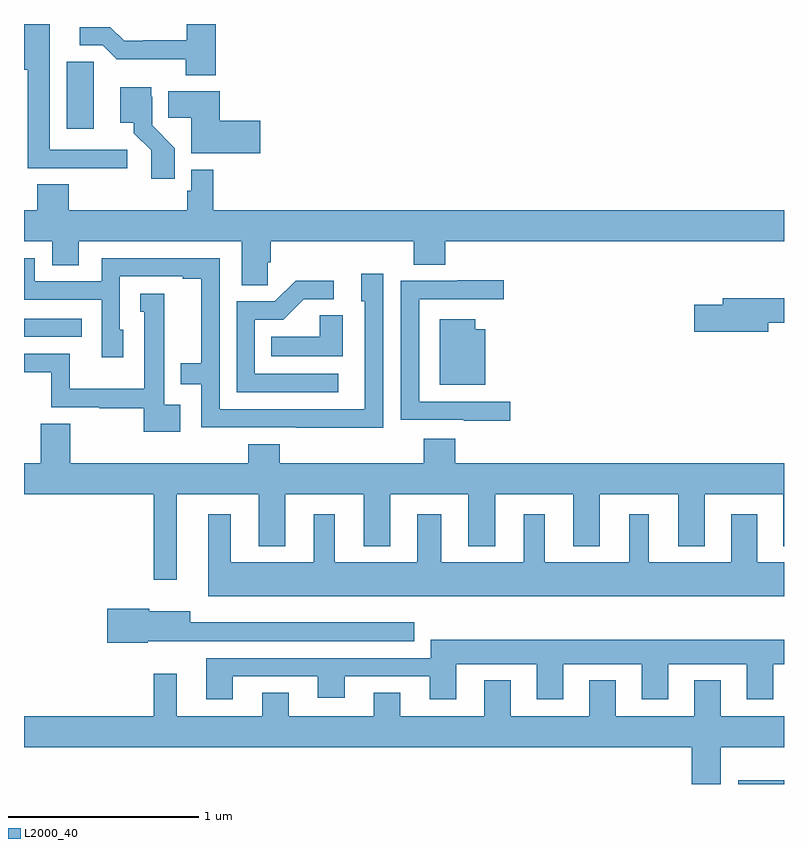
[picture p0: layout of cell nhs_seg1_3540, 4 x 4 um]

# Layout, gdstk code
import gdstk
lib = gdstk.Library(unit=1e-6, precision=1e-09)
def R(c, l, rs):  # rectangles x0, y0, x1, y1
    for r in rs: c.add(gdstk.rectangle(r[:2], r[2:], *l))
def P(c, l, *ps):  # polygons
    for p in ps: c.add(gdstk.Polygon(p, *l))
L2000_40 = (2000, 40)

nhs_seg1_3540 = lib.new_cell('nhs_seg1_3540')
R(nhs_seg1_3540, L2000_40, [(306.758,558.199,307,558.22), (303,560.553,303.304,560.649), (303.582,562.198,303.721,562.199)])
P(nhs_seg1_3540, L2000_40, [(303.544,561.537),(303.135,561.537),(303.135,562.199),(303,562.199),(303,561.958),(303.019,561.958),(303.019,561.441),(303.319,561.441),(303.319,561.439),(303.544,561.439)],
  [(304.01,562.199),(303.857,562.199),(303.857,562.113),(303.628,562.113),(303.628,562.11),(303.528,562.11),(303.455,562.183),(303.294,562.183),(303.294,562.086),(303.414,562.086),(303.487,562.014),(303.85,562.014),(303.85,561.929),(304.01,561.929)],
  [(303.367,561.89),(303.366,561.89),(303.366,562.001),(303.224,562.001),(303.224,561.648),(303.367,561.648)],
  [(303.794,561.546),(303.675,561.665),(303.675,561.816),(303.67,561.816),(303.67,561.865),(303.506,561.865),(303.506,561.68),(303.578,561.68),(303.578,561.625),(303.669,561.535),(303.669,561.384),(303.794,561.384)],
  [(304.243,561.689),(304.031,561.689),(304.031,561.844),(303.76,561.844),(303.76,561.706),(303.881,561.706),(303.881,561.518),(304.243,561.518)],
  [(304.283,560.944),(304.298,560.944),(304.298,561.056),(305.051,561.056),(305.051,560.932),(305.216,560.932),(305.216,561.056),(307,561.056),(307,561.22),(303.995,561.22),(303.995,561.433),(303.879,561.433),(303.879,561.321),(303.859,561.321),(303.859,561.22),(303.236,561.22),(303.236,561.356),(303.071,561.356),(303.071,561.22),(303,561.22),(303,561.056),(303.149,561.056),(303.149,560.929),(303.289,560.929),(303.289,561.056),(304.145,561.056),(304.145,560.824),(304.283,560.824)],
  [(304.89,560.884),(304.775,560.884),(304.775,560.739),(304.794,560.739),(304.794,560.172),(304.029,560.172),(304.029,560.967),(303.408,560.967),(303.408,560.844),(303.057,560.844),(303.057,560.967),(303,560.967),(303,560.748),(303.408,560.748),(303.408,560.445),(303.523,560.445),(303.523,560.589),(303.504,560.589),(303.504,560.871),(303.836,560.871),(303.836,560.859),(303.932,560.859),(303.932,560.413),(303.824,560.413),(303.824,560.304),(303.933,560.304),(303.933,560.076),(304.429,560.076),(304.429,560.075),(304.89,560.075)],
  [(305.56,560.211),(305.079,560.211),(305.079,560.751),(305.524,560.751),(305.524,560.851),(305.279,560.851),(305.279,560.847),(304.983,560.847),(304.983,560.115),(305.315,560.115),(305.315,560.111),(305.56,560.111)],
  [(304.654,560.358),(304.215,560.358),(304.215,560.643),(304.365,560.643),(304.473,560.751),(304.63,560.751),(304.63,560.849),(304.43,560.849),(304.32,560.739),(304.119,560.739),(304.119,560.262),(304.654,560.262)],
  [(303.823,560.194),(303.738,560.194),(303.738,560.29),(303.739,560.29),(303.739,560.778),(303.611,560.778),(303.611,560.685),(303.632,560.685),(303.632,560.278),(303.241,560.278),(303.241,560.463),(303,560.463),(303,560.367),(303.143,560.367),(303.143,560.181),(303.396,560.181),(303.396,560.176),(303.63,560.176),(303.63,560.054),(303.823,560.054)],
  [(306.916,560.626),(307,560.626),(307,560.755),(306.677,560.755),(306.677,560.721),(306.528,560.721),(306.528,560.579),(306.916,560.579)],
  [(304.678,560.666),(304.556,560.666),(304.556,560.554),(304.3,560.554),(304.3,560.45),(304.678,560.45)],
  [(305.428,560.593),(305.375,560.593),(305.375,560.644),(305.189,560.644),(305.189,560.3),(305.428,560.3)],
  [(303.805,559.724),(304.235,559.724),(304.235,559.451),(304.375,559.451),(304.375,559.724),(304.787,559.724),(304.787,559.451),(304.927,559.451),(304.927,559.724),(305.339,559.724),(305.339,559.451),(305.479,559.451),(305.479,559.724),(305.891,559.724),(305.891,559.451),(306.031,559.451),(306.031,559.724),(306.443,559.724),(306.443,559.451),(306.583,559.451),(306.583,559.724),(306.995,559.724),(306.995,559.451),(307,559.451),(307,559.888),(305.27,559.888),(305.27,560.017),(305.105,560.017),(305.105,559.888),(304.346,559.888),(304.346,559.987),(304.181,559.987),(304.181,559.888),(303.243,559.888),(303.243,560.096),(303.088,560.096),(303.088,559.888),(303,559.888),(303,559.724),(303.684,559.724),(303.684,559.275),(303.805,559.275)],
  [(307,559.366),(306.859,559.366),(306.859,559.618),(306.722,559.618),(306.722,559.366),(306.289,559.366),(306.289,559.618),(306.185,559.618),(306.185,559.366),(305.74,559.366),(305.74,559.618),(305.63,559.618),(305.63,559.366),(305.197,559.366),(305.197,559.618),(305.069,559.618),(305.069,559.366),(304.636,559.366),(304.636,559.618),(304.526,559.618),(304.526,559.366),(304.087,559.366),(304.087,559.618),(303.971,559.618),(303.971,559.187),(307,559.187)],
  [(303.65,558.95),(305.053,558.95),(305.053,559.051),(303.874,559.051),(303.874,559.108),(303.66,559.108),(303.66,559.121),(303.438,559.121),(303.438,558.943),(303.65,558.943)],
  [(304.099,558.765),(304.547,558.765),(304.547,558.653),(304.687,558.653),(304.687,558.765),(305.135,558.765),(305.135,558.645),(305.275,558.645),(305.275,558.83),(305.699,558.83),(305.699,558.645),(305.839,558.645),(305.839,558.83),(306.251,558.83),(306.251,558.645),(306.391,558.645),(306.391,558.83),(306.803,558.83),(306.803,558.645),(306.943,558.645),(306.943,558.83),(307,558.83),(307,558.958),(305.141,558.958),(305.141,558.861),(303.959,558.861),(303.959,558.645),(304.099,558.645)],
  [(306.667,558.392),(307,558.392),(307,558.556),(306.667,558.556),(306.667,558.745),(306.527,558.745),(306.527,558.556),(306.115,558.556),(306.115,558.745),(305.975,558.745),(305.975,558.556),(305.563,558.556),(305.563,558.745),(305.423,558.745),(305.423,558.556),(304.981,558.556),(304.981,558.68),(304.841,558.68),(304.841,558.556),(304.393,558.556),(304.393,558.68),(304.253,558.68),(304.253,558.556),(303.805,558.556),(303.805,558.778),(303.684,558.778),(303.684,558.556),(303,558.556),(303,558.392),(306.515,558.392),(306.515,558.199),(306.667,558.199)])

lib.write_gds('nhs_seg1_3540.gds')
